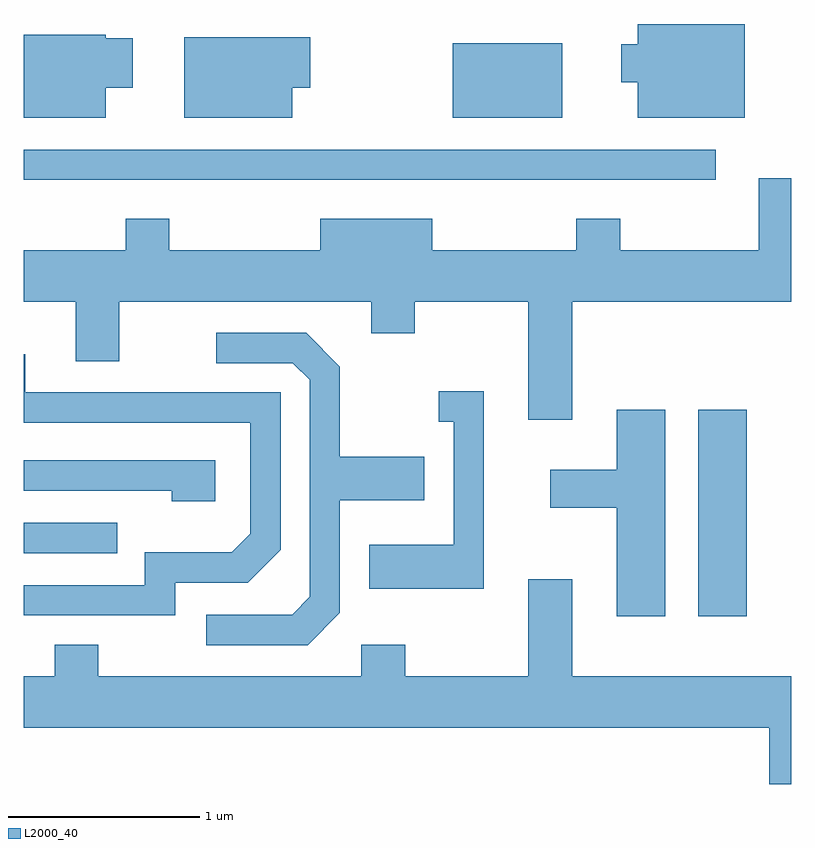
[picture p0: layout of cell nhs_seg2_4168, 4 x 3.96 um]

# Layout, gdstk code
import gdstk
lib = gdstk.Library(unit=1e-6, precision=1e-09)
def R(c, l, rs):  # rectangles x0, y0, x1, y1
    for r in rs: c.add(gdstk.rectangle(r[:2], r[2:], *l))
def P(c, l, *ps):  # polygons
    for p in ps: c.add(gdstk.Polygon(p, *l))
L2000_40 = (2000, 40)

nhs_seg2_4168 = lib.new_cell('nhs_seg2_4168')
R(nhs_seg2_4168, L2000_40, [(311.126,1046.676,311.379,1047.754), (307.611,1047.006,308.098,1047.164), (307.611,1048.951,311.218,1049.109), (309.846,1049.276,310.419,1049.664)])
P(nhs_seg2_4168, L2000_40, [(311.369,1049.764),(310.811,1049.764),(310.811,1049.659),(310.726,1049.659),(310.726,1049.461),(310.811,1049.461),(310.811,1049.276),(311.369,1049.276)],
  [(308.039,1049.431),(308.179,1049.431),(308.179,1049.689),(308.039,1049.689),(308.039,1049.709),(307.611,1049.709),(307.611,1049.276),(308.039,1049.276)],
  [(309.009,1049.431),(309.104,1049.431),(309.104,1049.694),(308.446,1049.694),(308.446,1049.276),(309.009,1049.276)],
  [(310.469,1048.316),(311.611,1048.316),(311.611,1048.959),(311.441,1048.959),(311.441,1048.584),(310.719,1048.584),(310.719,1048.749),(310.491,1048.749),(310.491,1048.584),(309.739,1048.584),(309.739,1048.749),(309.156,1048.749),(309.156,1048.584),(308.369,1048.584),(308.369,1048.749),(308.141,1048.749),(308.141,1048.584),(307.611,1048.584),(307.611,1048.316),(307.881,1048.316),(307.881,1048.006),(308.109,1048.006),(308.109,1048.316),(309.421,1048.316),(309.421,1048.151),(309.649,1048.151),(309.649,1048.316),(310.241,1048.316),(310.241,1047.701),(310.469,1047.701)],
  [(309.259,1046.694),(309.259,1047.281),(309.699,1047.281),(309.699,1047.509),(309.259,1047.509),(309.259,1047.977),(309.082,1048.154),(308.613,1048.154),(308.613,1047.996),(309.014,1047.996),(309.101,1047.909),(309.101,1046.777),(309.009,1046.684),(308.563,1046.684),(308.563,1046.526),(309.092,1046.526)],
  [(308.399,1046.851),(308.777,1046.851),(308.949,1047.024),(308.949,1047.844),(307.619,1047.844),(307.619,1048.043),(307.611,1048.043),(307.611,1047.686),(308.791,1047.686),(308.791,1047.107),(308.694,1047.009),(308.241,1047.009),(308.241,1046.839),(307.611,1046.839),(307.611,1046.681),(308.399,1046.681)],
  [(310.009,1047.849),(309.773,1047.849),(309.773,1047.691),(309.851,1047.691),(309.851,1047.049),(309.411,1047.049),(309.411,1046.821),(310.009,1046.821)],
  [(310.954,1047.754),(310.701,1047.754),(310.701,1047.439),(310.356,1047.439),(310.356,1047.241),(310.701,1047.241),(310.701,1046.676),(310.954,1046.676)],
  [(308.609,1047.489),(307.611,1047.489),(307.611,1047.331),(308.381,1047.331),(308.381,1047.276),(308.609,1047.276)],
  [(311.611,1046.364),(310.469,1046.364),(310.469,1046.869),(310.241,1046.869),(310.241,1046.364),(309.599,1046.364),(309.599,1046.529),(309.371,1046.529),(309.371,1046.364),(307.999,1046.364),(307.999,1046.529),(307.771,1046.529),(307.771,1046.364),(307.611,1046.364),(307.611,1046.096),(311.496,1046.096),(311.496,1045.802),(311.611,1045.802)])

lib.write_gds('nhs_seg2_4168.gds')
